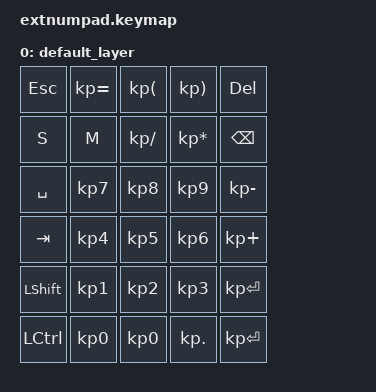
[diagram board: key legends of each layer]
/*
 * Copyright (c) 2020 The ZMK Contributors
 *
 * SPDX-License-Identifier: MIT
 */

#include <behaviors.dtsi>
#include <dt-bindings/zmk/bt.h>
#include <dt-bindings/zmk/keys.h>


/ {
    keymap {
        compatible = "zmk,keymap";

        default_layer {
            bindings = <
                &kp ESC          &kp KP_EQUAL       &kp KP_LPAR      &kp KP_RPAR         &kp DEL
                &kp S            &kp M              &kp KP_SLASH     &kp KP_ASTERISK     &kp BSPC
                &kp SPACE        &kp KP_N7           &kp KP_N8         &kp KP_N9            &kp KP_MINUS
                &kp TAB          &kp KP_N4           &kp KP_N5         &kp KP_N6            &kp KP_PLUS
                &kp LSHFT        &kp KP_N1           &kp KP_N2         &kp KP_N3            &kp KP_ENTER
                &kp LCTRL        &kp KP_N0           &kp KP_N0        &kp KP_DOT          &kp KP_ENTER
            >;
        };
    };
};



